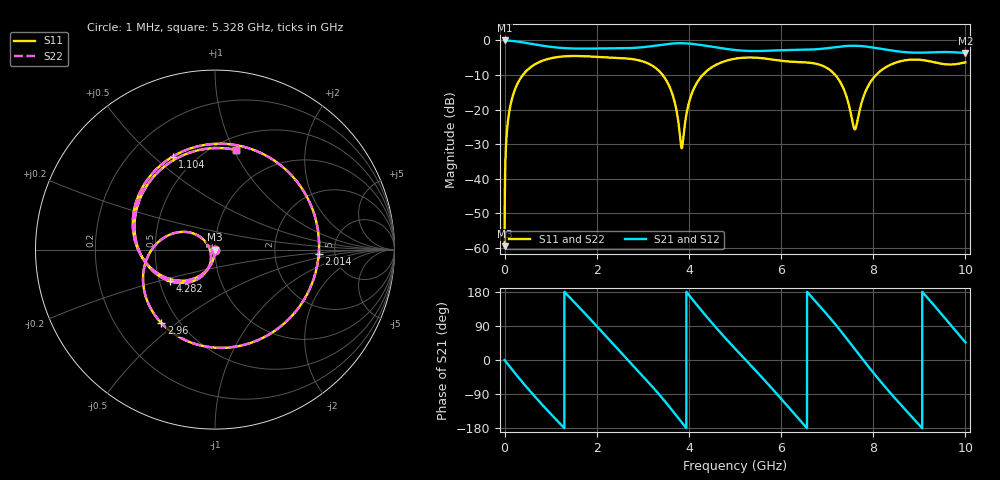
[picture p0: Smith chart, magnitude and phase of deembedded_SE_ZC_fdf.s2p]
# GHz S MA R 50
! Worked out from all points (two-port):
!   10000 points, 1 MHz to 10 GHz, reference 50 ohm
!   highest |S21| = 0.00 dB at 1 MHz (marker M1); lowest = -3.7 dB at 10 GHz (marker M2)
!   |S21| within 3 dB of the highest: start of sweep to 5.233 GHz; 5.669 GHz to 8.447 GHz (2.778 GHz wide, 39.4 % of centre)
!   lowest |S11| = -59.5 dB at 1 MHz (marker M3), VSWR 1.00, Z = 50 - j0.106 ohm
!   |S11| at or under -10 dB: start of sweep to 396.7 MHz; 3.431 GHz to 4.298 GHz (866.7 MHz wide, 22.4 % of centre); 7.177 GHz to 8.061 GHz (883.5 MHz wide, 11.6 % of centre)
!   |S22| runs from -59.5 to -4.5 dB; largest |S21 - S12| = 1.4e-15
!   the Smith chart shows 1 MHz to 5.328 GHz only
!   S11 on the Smith chart (normalised r, x): 1 MHz: 1.00, -0.00; 1.104 GHz: 0.38, +0.58; 2.014 GHz: 3.73, -0.26; 2.96 GHz: 0.40, -0.44; 4.282 GHz: 0.57, -0.22; 5.328 GHz: 0.63, +1.03
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0.001  0.001062 -92.2  0.9999 -0.2  0.9999 -0.2  0.001062 -92.2
0.07  0.06528 -101.6  0.9956 -10.9  0.9956 -10.9  0.06528 -101.6
0.211  0.1842 -123.1  0.977 -32.5  0.977 -32.5  0.1842 -123.1
0.606  0.4288 -180.0  0.8878 -89.5  0.8878 -89.5  0.4288 -180.0
1.104  0.5693 114.5  0.7943 -155.3  0.7943 -155.3  0.5693 114.5
1.668  0.5939 42.7  0.7619 132.7  0.7619 132.7  0.5939 42.7
2.014  0.5786 -2.3  0.7646 87.6  0.7646 87.6  0.5786 -2.3
2.522  0.5563 -69.4  0.77 20.4  0.77 20.4  0.5563 -69.4
2.96  0.5069 -126.2  0.7942 -37.0  0.7942 -37.0  0.5069 -126.2
3.334  0.3721 -175.2  0.8527 -88.0  0.8527 -88.0  0.3721 -175.2
3.845  0.02766 -164.8  0.9122 -164.7  0.9122 -164.7  0.02766 -164.8
4.282  0.3077 -145.2  0.8556 129.2  0.8556 129.2  0.3077 -145.2
5.001  0.5449 119.1  0.7276 30.1  0.7276 30.1  0.5449 119.1
5.328  0.5675 77.6  0.7041 -12.3  0.7041 -12.3  0.5675 77.6
5.981  0.5107 -8.8  0.7214 -99.5  0.7214 -99.5  0.5107 -8.8
6.667  0.4721 -103.2  0.7394 165.8  0.7394 165.8  0.4721 -103.2
7.228  0.2863 -175.1  0.8082 86.6  0.8082 86.6  0.2863 -175.1
7.691  0.08819 -110.9  0.8339 14.4  0.8339 14.4  0.08819 -110.9
8.334  0.4317 -176.0  0.7268 -81.7  0.7268 -81.7  0.4317 -176.0
9.123  0.5148 82.9  0.6678 171.7  0.6678 171.7  0.5148 82.9
9.589  0.4508 15.9  0.6805 105.4  0.6805 105.4  0.4508 15.9
10  0.4827 -45.5  0.6565 46.5  0.6565 46.5  0.4827 -45.5
